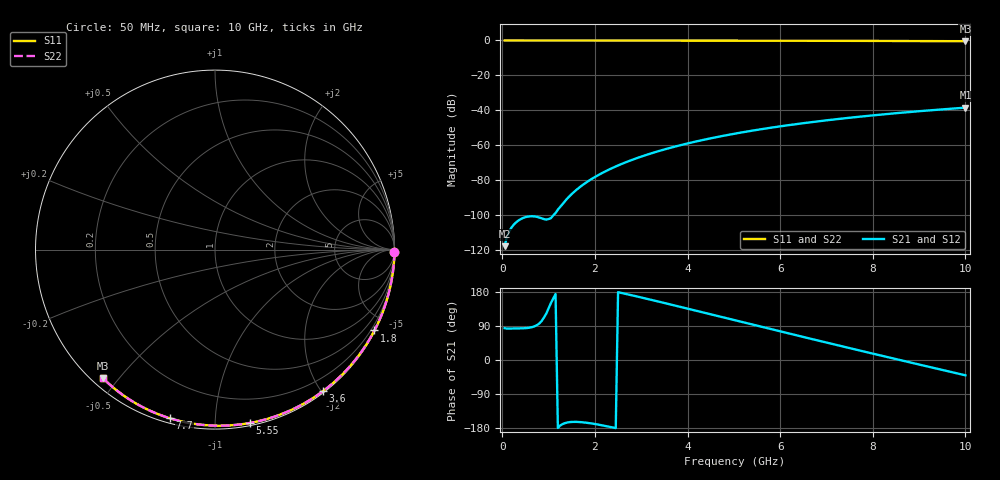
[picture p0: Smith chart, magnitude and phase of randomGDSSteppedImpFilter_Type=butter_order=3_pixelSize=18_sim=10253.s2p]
! freq	dB(S11)	phase(S11)	dB(S12)	phase(S12)
!  dB(S21)	phase(S21)	dB(S22)	phase(S22)
!S-par simulation data
#  GHz  S  DB  R 50
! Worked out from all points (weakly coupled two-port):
!   200 points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, 50 MHz to 10 GHz, reference 50 ohm
!   highest |S21| = -38.42 dB at 10 GHz (marker M1); lowest = -117.6 dB at 50 MHz (marker M2)
!   lowest |S11| = -0.4 dB at 10 GHz (marker M3), VSWR 39.16, Z = 1.54 - j22.6 ohm
!   |S11| at or under -10 dB: nowhere
!   |S22| runs from -0.4 to 0.0 dB; largest |S21 - S12| = 0
!   S11 on the Smith chart (normalised r, x): 50 MHz: open; 1.8 GHz: 0.04, -4.18; 3.6 GHz: 0.02, -2.02; 5.55 GHz: 0.02, -1.22; 7.7 GHz: 0.02, -0.77; 10 GHz: 0.03, -0.45
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0.05  -0.00 -0.8  -117.60 84.0  -117.60 84.0  -0.00 -0.8
0.9  -0.02 -13.6  -102.13 112.1  -102.13 112.1  -0.02 -13.6
1.75  -0.03 -26.2  -82.34 -164.6  -82.34 -164.6  -0.03 -26.2
1.8  -0.03 -26.9  -81.41 -165.3  -81.41 -165.3  -0.03 -26.9
1.85  -0.04 -27.6  -80.52 -166.1  -80.52 -166.1  -0.04 -27.6
1.9  -0.04 -28.4  -79.67 -167.0  -79.67 -167.0  -0.04 -28.4
2.05  -0.04 -30.6  -77.29 -170.0  -77.29 -170.0  -0.04 -30.6
2.25  -0.04 -33.5  -74.50 -174.6  -74.50 -174.6  -0.04 -33.5
2.45  -0.05 -36.3  -72.02 -179.7  -72.02 -179.7  -0.05 -36.3
2.65  -0.05 -39.2  -69.81 174.9  -69.81 174.9  -0.05 -39.2
3  -0.06 -44.2  -66.40 165.0  -66.40 165.0  -0.06 -44.2
3.4  -0.07 -49.8  -63.07 153.4  -63.07 153.4  -0.07 -49.8
3.6  -0.07 -52.6  -61.58 147.5  -61.58 147.5  -0.07 -52.6
4.3  -0.09 -62.2  -57.07 126.6  -57.07 126.6  -0.09 -62.2
5.05  -0.11 -72.1  -53.14 104.1  -53.14 104.1  -0.11 -72.1
5.55  -0.13 -78.6  -50.91 89.1  -50.91 89.1  -0.13 -78.6
6.1  -0.15 -85.5  -48.73 72.7  -48.73 72.7  -0.15 -85.5
6.7  -0.18 -92.9  -46.62 54.9  -46.62 54.9  -0.18 -92.9
7.7  -0.24 -104.9  -43.62 25.5  -43.62 25.5  -0.24 -104.9
8.35  -0.29 -112.5  -41.95 6.7  -41.95 6.7  -0.29 -112.5
9.15  -0.36 -121.6  -40.12 -16.2  -40.12 -16.2  -0.36 -121.6
10  -0.44 -131.2  -38.42 -40.4  -38.42 -40.4  -0.44 -131.2
